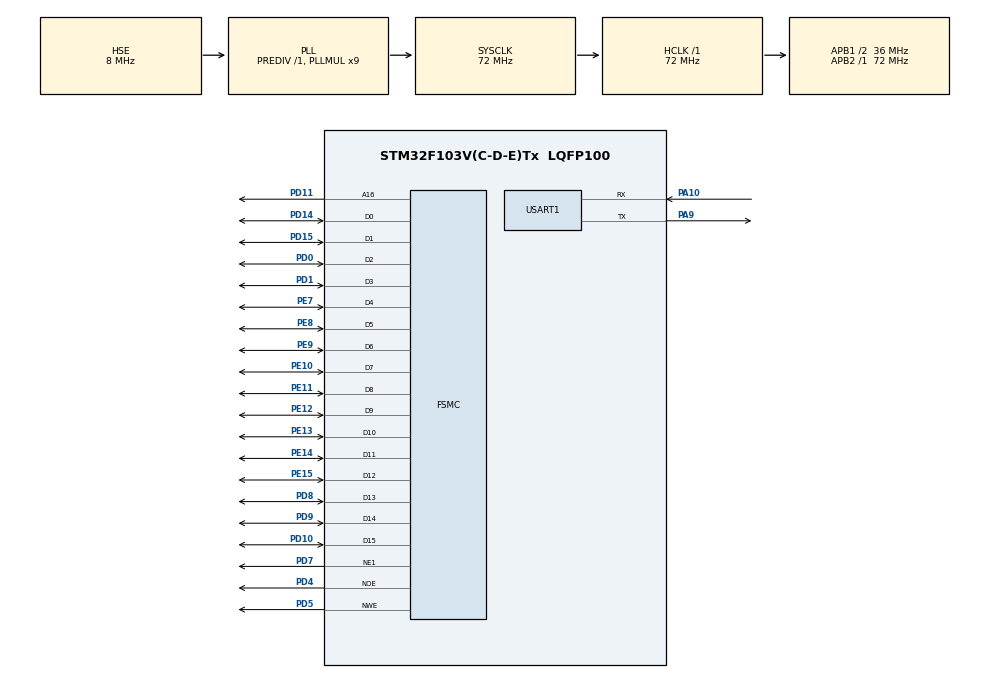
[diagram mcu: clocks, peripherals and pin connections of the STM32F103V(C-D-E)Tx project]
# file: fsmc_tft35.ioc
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Dma.Request0=USART1_TX
Dma.USART1_TX.0.Direction=DMA_MEMORY_TO_PERIPH
Dma.USART1_TX.0.Instance=DMA1_Channel4
Dma.USART1_TX.0.MemDataAlignment=DMA_MDATAALIGN_BYTE
Dma.USART1_TX.0.MemInc=DMA_MINC_ENABLE
Dma.USART1_TX.0.Mode=DMA_NORMAL
Dma.USART1_TX.0.PeriphDataAlignment=DMA_PDATAALIGN_BYTE
Dma.USART1_TX.0.PeriphInc=DMA_PINC_DISABLE
Dma.USART1_TX.0.Priority=DMA_PRIORITY_LOW
FREERTOS.Tasks01=defaultTask,0,128,StartDefaultTask,Default,NULL
FSMC.ExtendedMode1=FSMC_EXTENDED_MODE_DISABLE
Mcu.Family=STM32F1
Mcu.Name=STM32F103V(C-D-E)Tx
Mcu.Package=LQFP100
NVIC.DMA1_Channel4_IRQn=true\:5\:0\:false\:false\:true\:true
NVIC.PriorityGroup=NVIC_PRIORITYGROUP_4
NVIC.USART1_IRQn=true\:0\:0\:false\:false\:true\:false
OSC_IN.Mode=HSE-External-Oscillator
OSC_IN.Signal=RCC_OSC_IN
OSC_OUT.Mode=HSE-External-Oscillator
OSC_OUT.Signal=RCC_OSC_OUT
PA10.Mode=Asynchronous
PA10.Signal=USART1_RX
PA13.Mode=Serial_Wire
PA13.Signal=SYS_JTMS-SWDIO
PA14.Mode=Serial_Wire
PA14.Signal=SYS_JTCK-SWCLK
PA9.Mode=Asynchronous
PA9.Signal=USART1_TX
PC14-OSC32_IN.Mode=LSE-External-Oscillator
PC14-OSC32_IN.Signal=RCC_OSC32_IN
PC15-OSC32_OUT.Mode=LSE-External-Oscillator
PC15-OSC32_OUT.Signal=RCC_OSC32_OUT
PD0.Mode=16b-d1
PD0.Signal=FSMC_D2
PD1.Mode=16b-d1
PD1.Signal=FSMC_D3
PD10.Mode=16b-d1
PD10.Signal=FSMC_D15
PD11.Mode=A16_1
PD11.Signal=FSMC_A16
PD14.Mode=16b-d1
PD14.Signal=FSMC_D0
PD15.Mode=16b-d1
PD15.Signal=FSMC_D1
PD4.Mode=Lcd1
PD4.Signal=FSMC_NOE
PD5.Mode=Lcd1
PD5.Signal=FSMC_NWE
PD7.Mode=NorPsramChipSelect1_1
PD7.Signal=FSMC_NE1
PD8.Mode=16b-d1
PD8.Signal=FSMC_D13
PD9.Mode=16b-d1
PD9.Signal=FSMC_D14
PE10.Mode=16b-d1
PE10.Signal=FSMC_D7
PE11.Mode=16b-d1
PE11.Signal=FSMC_D8
PE12.Mode=16b-d1
PE12.Signal=FSMC_D9
PE13.Mode=16b-d1
PE13.Signal=FSMC_D10
PE14.Mode=16b-d1
PE14.Signal=FSMC_D11
PE15.Mode=16b-d1
PE15.Signal=FSMC_D12
PE7.Mode=16b-d1
PE7.Signal=FSMC_D4
PE8.Mode=16b-d1
PE8.Signal=FSMC_D5
PE9.Mode=16b-d1
PE9.Signal=FSMC_D6
ProjectManager.HeapSize=0x200
ProjectManager.StackSize=0x400
ProjectManager.TargetToolchain=EWARM
RCC.AHBFreq_Value=72000000
RCC.APB1CLKDivider=RCC_HCLK_DIV2
RCC.APB1Freq_Value=36000000
RCC.APB1TimFreq_Value=72000000
RCC.APB2Freq_Value=72000000
RCC.APB2TimFreq_Value=72000000
RCC.HCLKFreq_Value=72000000
RCC.PLLMUL=RCC_PLL_MUL9
RCC.PLLSourceVirtual=RCC_PLLSOURCE_HSE
RCC.RTCClockSelection=RCC_RTCCLKSOURCE_LSE
RCC.SYSCLKFreq_VALUE=72000000
RCC.SYSCLKSource=RCC_SYSCLKSOURCE_PLLCLK
RCC.USBFreq_Value=72000000
USART1.VirtualMode=VM_ASYNC
VP_FREERTOS_VS_ENABLE.Mode=Enabled
VP_RTC_VS_RTC_Activate.Mode=RTC_Enabled
VP_RTC_VS_RTC_Calendar.Mode=RTC_Calendar
board=fsmc_tft35

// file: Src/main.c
/**
  ******************************************************************************
  * File Name          : main.c
  * Description        : Main program body
  ******************************************************************************
  * This notice applies to any and all portions of this file
  * that are not between comment pairs USER CODE BEGIN and
  * USER CODE END. Other portions of this file, whether
  * inserted by the user or by software development tools
  * are owned by their respective copyright owners.
  *
  * Copyright (c) 2017 STMicroelectronics International N.V.
  * All rights reserved.
  *
  * Redistribution and use in source and binary forms, with or without
  * modification, are permitted, provided that the following conditions are met:
  *
  * 1. Redistribution of source code must retain the above copyright notice,
  *    this list of conditions and the following disclaimer.
  * 2. Redistributions in binary form must reproduce the above copyright notice,
  *    this list of conditions and the following disclaimer in the documentation
  *    and/or other materials provided with the distribution.
  * 3. Neither the name of STMicroelectronics nor the names of other
  *    contributors to this software may be used to endorse or promote products
  *    derived from this software without specific written permission.
  * 4. This software, including modifications and/or derivative works of this
  *    software, must execute solely and exclusively on microcontroller or
  *    microprocessor devices manufactured by or for STMicroelectronics.
  * 5. Redistribution and use of this software other than as permitted under
  *    this license is void and will automatically terminate your rights under
  *    this license.
  *
  * THIS SOFTWARE IS PROVIDED BY STMICROELECTRONICS AND CONTRIBUTORS "AS IS"
  * AND ANY EXPRESS, IMPLIED OR STATUTORY WARRANTIES, INCLUDING, BUT NOT
  * LIMITED TO, THE IMPLIED WARRANTIES OF MERCHANTABILITY, FITNESS FOR A
  * PARTICULAR PURPOSE AND NON-INFRINGEMENT OF THIRD PARTY INTELLECTUAL PROPERTY
  * RIGHTS ARE DISCLAIMED TO THE FULLEST EXTENT PERMITTED BY LAW. IN NO EVENT
  * SHALL STMICROELECTRONICS OR CONTRIBUTORS BE LIABLE FOR ANY DIRECT, INDIRECT,
  * INCIDENTAL, SPECIAL, EXEMPLARY, OR CONSEQUENTIAL DAMAGES (INCLUDING, BUT NOT
  * LIMITED TO, PROCUREMENT OF SUBSTITUTE GOODS OR SERVICES; LOSS OF USE, DATA,
  * OR PROFITS; OR BUSINESS INTERRUPTION) HOWEVER CAUSED AND ON ANY THEORY OF
  * LIABILITY, WHETHER IN CONTRACT, STRICT LIABILITY, OR TORT (INCLUDING
  * NEGLIGENCE OR OTHERWISE) ARISING IN ANY WAY OUT OF THE USE OF THIS SOFTWARE,
  * EVEN IF ADVISED OF THE POSSIBILITY OF SUCH DAMAGE.
  *
  ******************************************************************************
  */
#include "main.h"
#include "stm32f1xx_hal.h"
#include "cmsis_os.h"

/* USER CODE BEGIN Includes */
#include "stm32f103vet6_mini.h"
/* USER CODE END Includes */

RTC_HandleTypeDef hrtc;

UART_HandleTypeDef huart1;
DMA_HandleTypeDef hdma_usart1_tx;

SRAM_HandleTypeDef hsram1;

osThreadId defaultTaskHandle;

/* USER CODE BEGIN PV */
/* Private variables ---------------------------------------------------------*/

/* USER CODE END PV */

void SystemClock_Config(void);
static void MX_GPIO_Init(void);
static void MX_DMA_Init(void);
static void MX_FSMC_Init(void);
static void MX_RTC_Init(void);
static void MX_USART1_UART_Init(void);
void StartDefaultTask(void const * argument);

/* USER CODE BEGIN PFP */
/* Private function prototypes -----------------------------------------------*/

/* USER CODE END PFP */

int main(void)
{

  /* MCU Configuration----------------------------------------------------------*/

  /* Reset of all peripherals, Initializes the Flash interface and the Systick. */
  HAL_Init();

  /* Configure the system clock */
  SystemClock_Config();

  /* Initialize all configured peripherals */
  MX_GPIO_Init();
  MX_DMA_Init();
  MX_FSMC_Init();
  MX_RTC_Init();
  MX_USART1_UART_Init();

  /* USER CODE BEGIN 2 */
  BSP_LCD_Init();
  /* USER CODE END 2 */

  /* Create the thread(s) */
  /* definition and creation of defaultTask */
  osThreadDef(defaultTask, StartDefaultTask, osPriorityNormal, 0, 200);
  defaultTaskHandle = osThreadCreate(osThread(defaultTask), NULL);

  /* Start scheduler */
  osKernelStart();

  /* We should never get here as control is now taken by the scheduler */

  /* Infinite loop */
  while (1)
  {

  }

}

/** System Clock Configuration
*/
void SystemClock_Config(void)
{

  RCC_OscInitTypeDef RCC_OscInitStruct;
  RCC_ClkInitTypeDef RCC_ClkInitStruct;
  RCC_PeriphCLKInitTypeDef PeriphClkInit;

    /**Initializes the CPU, AHB and APB busses clocks
    */
  RCC_OscInitStruct.OscillatorType = RCC_OSCILLATORTYPE_HSE|RCC_OSCILLATORTYPE_LSE;
  RCC_OscInitStruct.HSEState = RCC_HSE_ON;
  RCC_OscInitStruct.HSEPredivValue = RCC_HSE_PREDIV_DIV1;
  RCC_OscInitStruct.LSEState = RCC_LSE_ON;
  RCC_OscInitStruct.HSIState = RCC_HSI_ON;
  RCC_OscInitStruct.PLL.PLLState = RCC_PLL_ON;
  RCC_OscInitStruct.PLL.PLLSource = RCC_PLLSOURCE_HSE;
  RCC_OscInitStruct.PLL.PLLMUL = RCC_PLL_MUL9;
  if (HAL_RCC_OscConfig(&RCC_OscInitStruct) != HAL_OK)
  {
    _Error_Handler(__FILE__, __LINE__);
  }

    /**Initializes the CPU, AHB and APB busses clocks
    */
  RCC_ClkInitStruct.ClockType = RCC_CLOCKTYPE_HCLK|RCC_CLOCKTYPE_SYSCLK
                              |RCC_CLOCKTYPE_PCLK1|RCC_CLOCKTYPE_PCLK2;
  RCC_ClkInitStruct.SYSCLKSource = RCC_SYSCLKSOURCE_PLLCLK;
  RCC_ClkInitStruct.AHBCLKDivider = RCC_SYSCLK_DIV1;
  RCC_ClkInitStruct.APB1CLKDivider = RCC_HCLK_DIV2;
  RCC_ClkInitStruct.APB2CLKDivider = RCC_HCLK_DIV1;

  if (HAL_RCC_ClockConfig(&RCC_ClkInitStruct, FLASH_LATENCY_2) != HAL_OK)
  {
    _Error_Handler(__FILE__, __LINE__);
  }

  PeriphClkInit.PeriphClockSelection = RCC_PERIPHCLK_RTC;
  PeriphClkInit.RTCClockSelection = RCC_RTCCLKSOURCE_LSE;
  if (HAL_RCCEx_PeriphCLKConfig(&PeriphClkInit) != HAL_OK)
  {
    _Error_Handler(__FILE__, __LINE__);
  }

    /**Configure the Systick interrupt time
    */
  HAL_SYSTICK_Config(HAL_RCC_GetHCLKFreq()/1000);

    /**Configure the Systick
    */
  HAL_SYSTICK_CLKSourceConfig(SYSTICK_CLKSOURCE_HCLK);

  /* SysTick_IRQn interrupt configuration */
  HAL_NVIC_SetPriority(SysTick_IRQn, 15, 0);
}

/* RTC init function */
static void MX_RTC_Init(void)
{

  RTC_TimeTypeDef sTime;
  RTC_DateTypeDef DateToUpdate;

    /**Initialize RTC Only
    */
  hrtc.Instance = RTC;
  hrtc.Init.AsynchPrediv = RTC_AUTO_1_SECOND;
  hrtc.Init.OutPut = RTC_OUTPUTSOURCE_ALARM;
  if (HAL_RTC_Init(&hrtc) != HAL_OK)
  {
    _Error_Handler(__FILE__, __LINE__);
  }

    /**Initialize RTC and set the Time and Date
    */
  if(HAL_RTCEx_BKUPRead(&hrtc, RTC_BKP_DR1) != 0x32F2){
  sTime.Hours = 0x1;
  sTime.Minutes = 0x0;
  sTime.Seconds = 0x0;

  if (HAL_RTC_SetTime(&hrtc, &sTime, RTC_FORMAT_BCD) != HAL_OK)
  {
    _Error_Handler(__FILE__, __LINE__);
  }

  DateToUpdate.WeekDay = RTC_WEEKDAY_MONDAY;
  DateToUpdate.Month = RTC_MONTH_JANUARY;
  DateToUpdate.Date = 0x1;
  DateToUpdate.Year = 0x0;

  if (HAL_RTC_SetDate(&hrtc, &DateToUpdate, RTC_FORMAT_BCD) != HAL_OK)
  {
    _Error_Handler(__FILE__, __LINE__);
  }

    HAL_RTCEx_BKUPWrite(&hrtc,RTC_BKP_DR1,0x32F2);
  }

}

/* USART1 init function */
static void MX_USART1_UART_Init(void)
{

  huart1.Instance = USART1;
  huart1.Init.BaudRate = 115200;
  huart1.Init.WordLength = UART_WORDLENGTH_8B;
  huart1.Init.StopBits = UART_STOPBITS_1;
  huart1.Init.Parity = UART_PARITY_NONE;
  huart1.Init.Mode = UART_MODE_TX_RX;
  huart1.Init.HwFlowCtl = UART_HWCONTROL_NONE;
  huart1.Init.OverSampling = UART_OVERSAMPLING_16;
  if (HAL_UART_Init(&huart1) != HAL_OK)
  {
    _Error_Handler(__FILE__, __LINE__);
  }

}

static void MX_DMA_Init(void)
{
  /* DMA controller clock enable */
  __HAL_RCC_DMA1_CLK_ENABLE();

  /* DMA interrupt init */
  /* DMA1_Channel4_IRQn interrupt configuration */
  HAL_NVIC_SetPriority(DMA1_Channel4_IRQn, 5, 0);
  HAL_NVIC_EnableIRQ(DMA1_Channel4_IRQn);

}

/** Configure pins as
        * Analog
        * Input
        * Output
        * EVENT_OUT
        * EXTI
*/
static void MX_GPIO_Init(void)
{

  /* GPIO Ports Clock Enable */
  __HAL_RCC_GPIOC_CLK_ENABLE();
  __HAL_RCC_GPIOE_CLK_ENABLE();
  __HAL_RCC_GPIOD_CLK_ENABLE();
  __HAL_RCC_GPIOA_CLK_ENABLE();

}

/* FSMC initialization function */
static void MX_FSMC_Init(void)
{
  FSMC_NORSRAM_TimingTypeDef Timing;

  /** Perform the SRAM1 memory initialization sequence
  */
  hsram1.Instance = FSMC_NORSRAM_DEVICE;
  hsram1.Extended = FSMC_NORSRAM_EXTENDED_DEVICE;
  /* hsram1.Init */
  hsram1.Init.NSBank = FSMC_NORSRAM_BANK1;
  hsram1.Init.DataAddressMux = FSMC_DATA_ADDRESS_MUX_DISABLE;
  hsram1.Init.MemoryType = FSMC_MEMORY_TYPE_SRAM;
  hsram1.Init.MemoryDataWidth = FSMC_NORSRAM_MEM_BUS_WIDTH_16;
  hsram1.Init.BurstAccessMode = FSMC_BURST_ACCESS_MODE_DISABLE;
  hsram1.Init.WaitSignalPolarity = FSMC_WAIT_SIGNAL_POLARITY_LOW;
  hsram1.Init.WrapMode = FSMC_WRAP_MODE_DISABLE;
  hsram1.Init.WaitSignalActive = FSMC_WAIT_TIMING_BEFORE_WS;
  hsram1.Init.WriteOperation = FSMC_WRITE_OPERATION_ENABLE;
  hsram1.Init.WaitSignal = FSMC_WAIT_SIGNAL_DISABLE;
  hsram1.Init.ExtendedMode = FSMC_EXTENDED_MODE_DISABLE;
  hsram1.Init.AsynchronousWait = FSMC_ASYNCHRONOUS_WAIT_DISABLE;
  hsram1.Init.WriteBurst = FSMC_WRITE_BURST_DISABLE;
  /* Timing */
  Timing.AddressSetupTime = 1;
  Timing.AddressHoldTime = 15;
  Timing.DataSetupTime = 1;
  Timing.BusTurnAroundDuration = 11;
  Timing.CLKDivision = 16;
  Timing.DataLatency = 17;
  Timing.AccessMode = FSMC_ACCESS_MODE_A;
  /* ExtTiming */

  if (HAL_SRAM_Init(&hsram1, &Timing, NULL) != HAL_OK)
  {
    _Error_Handler(__FILE__, __LINE__);
  }

  /** Disconnect NADV
  */

  __HAL_AFIO_FSMCNADV_DISCONNECTED();

}

/* USER CODE BEGIN 4 */
int fputc(int ch, FILE *f)
{
 HAL_UART_Transmit(&huart1,(uint8_t*)&ch,1,0xff);
 return ch;
}
/* USER CODE END 4 */

/* StartDefaultTask function */
void StartDefaultTask(void const * argument)
{

  /* USER CODE BEGIN 5 */
  /* Infinite loop */
  printf("do lcd_drv opt clear-------------\r\n");
  BSP_LCD_Clear(LCD_COLOR_LIGHTYELLOW);

  for(;;)
  {
    BSP_LCD_SetTextColor(LCD_COLOR_BLUE);
    BSP_LCD_SetBackColor(LCD_COLOR_BLACK);
    BSP_LCD_SetFont(&Font24);
    printf("do lcd_drv opt draw string -------------\r\n");
    BSP_LCD_DisplayStringAtLine(0,"why life is so fucking hard!!");
    osDelay(2000);

    BSP_LCD_SetTextColor(LCD_COLOR_ORANGE);
    BSP_LCD_SetBackColor(LCD_COLOR_BLACK);

    printf("do lcd_drv opt draw string -------------\r\n");
    BSP_LCD_DisplayStringAtLine(1,"nothing is impossible!");
    osDelay(2000);

    BSP_LCD_SetTextColor(LCD_COLOR_GRAY);
    //BSP_LCD_SetBackColor(LCD_COLOR_DARKGREEN);
    BSP_LCD_SetFont(&Font16);
    BSP_LCD_DisplayStringAtLineXpos(4,0,"Downloaded D:/developmet!");
    BSP_LCD_DisplayStringAtLineXpos(4,275,"BSP_LCD_SetTextColor(LCD_COLOR_ORANGE);!");
    osDelay(2000);
    BSP_LCD_SetTextColor(LCD_COLOR_DARKGREEN);
    //BSP_LCD_SetBackColor(LCD_COLOR_GRAY);

    BSP_LCD_DisplayStringAtLine(6,"do lcd_drv opt draw string+-+");
    BSP_LCD_DisplayStringAtLine(7,"nothing is impossible!");
    BSP_LCD_SetFont(&Font8);
    osDelay(2000);

    BSP_LCD_DisplayStringAtLine(17,"Building configuration: fsmc_tft35-fsmc_tft3500-=");
    BSP_LCD_DisplayStringAtLineXpos(17,250,"nothing is impossible!");
    osDelay(2000);
    BSP_LCD_SetTextColor(LCD_COLOR_ORANGE);
   // BSP_LCD_SetBackColor(LCD_COLOR_BLACK);
    BSP_LCD_FillRect(20,220,200,100);
    osDelay(2000);
    BSP_LCD_FillCircle(200,200,100);
     osDelay(2000);
    BSP_LCD_FillEllipse(400,200,60,100);
    osDelay(2000);

    BSP_LCD_SetTextColor(LCD_COLOR_LIGHTMAGENTA);
    BSP_LCD_DrawLine(0,300,479,0);
    osDelay(2000);
  }
  /* USER CODE END 5 */
}

void _Error_Handler(char * file, int line)
{
  while(1)
  {
  }
}

/************************ (C) COPYRIGHT STMicroelectronics *****END OF FILE****/
